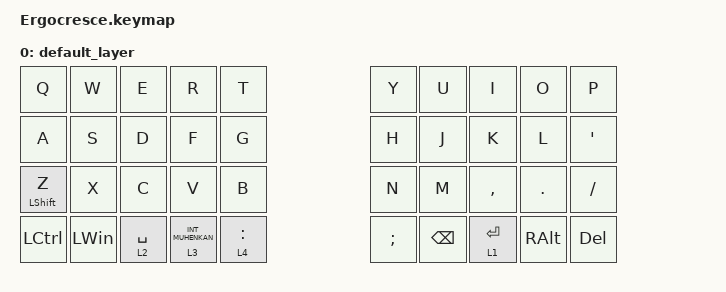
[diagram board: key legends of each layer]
#include <behaviors.dtsi>
#include <dt-bindings/zmk/bt.h>
#include <dt-bindings/zmk/keys.h>
#include <dt-bindings/zmk/pointing.h>

&mt {
    flavor = "balanced";
    quick-tap-ms = <0>;
};

/ {
    combos { compatible = "zmk,combos"; };

    macros {
        to_layer_0: to_layer_0 {
            compatible = "zmk,behavior-macro-one-param";
            #binding-cells = <1>;
            bindings = <&to 0 &macro_param_1to1 &kp MACRO_PLACEHOLDER>;
            label = "TO_LAYER_0";
        };
    };

        lt_to_layer_0: lt_to_layer_0 {
            compatible = "zmk,behavior-hold-tap";
            label = "LAYER_TAP_TO_0";
            bindings = <&mo>, <&to_layer_0>;

            #binding-cells = <2>;
            tapping-term-ms = <200>;
        };
    };

/ {
      keymap {
        compatible = "zmk,keymap";
        default_layer {
            bindings = <
&kp Q             &kp W         &kp E         &kp R             &kp T                                                                      &kp Y          &kp U  &kp I      &kp O         &kp P
&kp A             &kp S         &kp D         &kp F             &kp G                                                                      &kp H          &kp J  &kp K      &kp L         &kp SQT
&mt LEFT_SHIFT Z  &kp X         &kp C         &kp V             &kp B                                                                      &kp N          &kp M  &kp COMMA  &kp DOT       &kp SLASH
&kp LCTRL         &kp LEFT_WIN                                  &lt 2 SPACE  &lt 3 INT_MUHENKAN &lt 4 COLON   &kp SEMICOLON &kp BACKSPACE  &lt 1 ENTER                      &kp RIGHT_ALT &kp DEL
            >;
        };
    };
};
